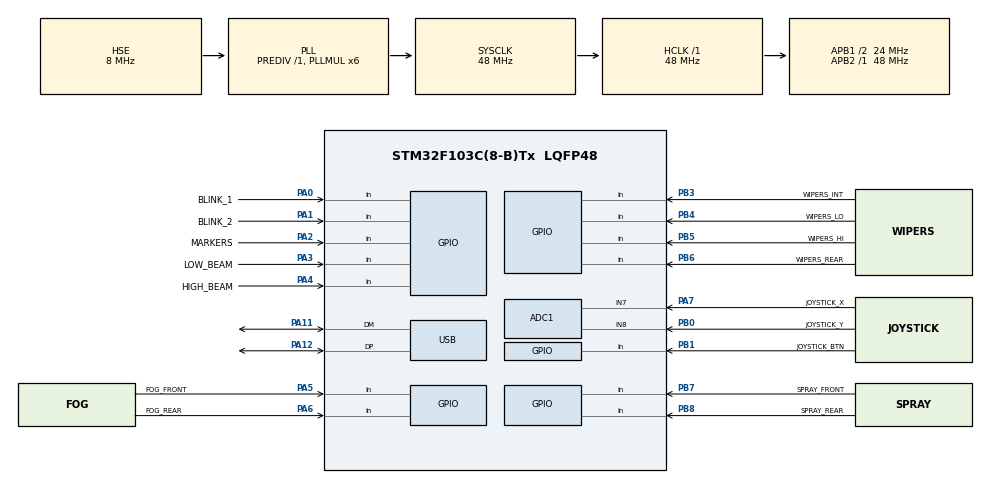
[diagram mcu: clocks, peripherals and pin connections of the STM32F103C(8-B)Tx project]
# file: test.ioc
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ADC1.Channel-1\#ChannelRegularConversion=ADC_CHANNEL_7
ADC1.Channel-2\#ChannelRegularConversion=ADC_CHANNEL_8
ADC1.NbrOfConversion=2
ADC1.NbrOfConversionFlag=1
ADC1.Rank-1\#ChannelRegularConversion=1
ADC1.Rank-2\#ChannelRegularConversion=2
ADC1.SamplingTime-1\#ChannelRegularConversion=ADC_SAMPLETIME_1CYCLE_5
ADC1.SamplingTime-2\#ChannelRegularConversion=ADC_SAMPLETIME_1CYCLE_5
ADC1.master=1
Dma.ADC1.0.Direction=DMA_PERIPH_TO_MEMORY
Dma.ADC1.0.Instance=DMA1_Channel1
Dma.ADC1.0.MemDataAlignment=DMA_MDATAALIGN_HALFWORD
Dma.ADC1.0.MemInc=DMA_MINC_ENABLE
Dma.ADC1.0.Mode=DMA_CIRCULAR
Dma.ADC1.0.PeriphDataAlignment=DMA_PDATAALIGN_HALFWORD
Dma.ADC1.0.PeriphInc=DMA_PINC_DISABLE
Dma.ADC1.0.Priority=DMA_PRIORITY_LOW
Dma.Request0=ADC1
Mcu.Family=STM32F1
Mcu.Name=STM32F103C(8-B)Tx
Mcu.Package=LQFP48
NVIC.DMA1_Channel1_IRQn=true\:0\:0\:false\:false\:true\:false\:true\:true
NVIC.PriorityGroup=NVIC_PRIORITYGROUP_4
NVIC.USB_LP_CAN1_RX0_IRQn=true\:0\:0\:false\:false\:true\:false\:true\:true
PA0-WKUP.GPIO_Label=BLINK_1
PA0-WKUP.GPIO_PuPd=GPIO_PULLUP
PA0-WKUP.Signal=GPIO_Input
PA1.GPIO_Label=BLINK_2
PA1.GPIO_PuPd=GPIO_PULLUP
PA1.Signal=GPIO_Input
PA11.Mode=Device
PA11.Signal=USB_DM
PA12.Mode=Device
PA12.Signal=USB_DP
PA13.Mode=Serial_Wire
PA13.Signal=SYS_JTMS-SWDIO
PA14.Mode=Serial_Wire
PA14.Signal=SYS_JTCK-SWCLK
PA2.GPIO_Label=MARKERS
PA2.GPIO_PuPd=GPIO_PULLUP
PA2.Signal=GPIO_Input
PA3.GPIO_Label=LOW_BEAM
PA3.GPIO_PuPd=GPIO_PULLUP
PA3.Signal=GPIO_Input
PA4.GPIO_Label=HIGH_BEAM
PA4.GPIO_PuPd=GPIO_PULLUP
PA4.Signal=GPIO_Input
PA5.GPIO_Label=FOG_FRONT
PA5.GPIO_PuPd=GPIO_PULLUP
PA5.Signal=GPIO_Input
PA6.GPIO_Label=FOG_REAR
PA6.GPIO_PuPd=GPIO_PULLUP
PA6.Signal=GPIO_Input
PA7.GPIO_Label=JOYSTICK_X
PA7.Signal=ADCx_IN7
PB0.GPIO_Label=JOYSTICK_Y
PB0.Signal=ADCx_IN8
PB1.GPIO_Label=JOYSTICK_BTN
PB1.GPIO_PuPd=GPIO_PULLUP
PB1.Signal=GPIO_Input
PB3.GPIO_Label=WIPERS_INT
PB3.GPIO_PuPd=GPIO_PULLUP
PB3.Signal=GPIO_Input
PB4.GPIO_Label=WIPERS_LO
PB4.GPIO_PuPd=GPIO_PULLUP
PB4.Signal=GPIO_Input
PB5.GPIO_Label=WIPERS_HI
PB5.GPIO_PuPd=GPIO_PULLUP
PB5.Signal=GPIO_Input
PB6.GPIO_Label=WIPERS_REAR
PB6.GPIO_PuPd=GPIO_PULLUP
PB6.Signal=GPIO_Input
PB7.GPIO_Label=SPRAY_FRONT
PB7.GPIO_PuPd=GPIO_PULLUP
PB7.Signal=GPIO_Input
PB8.GPIO_Label=SPRAY_REAR
PB8.GPIO_PuPd=GPIO_PULLUP
PB8.Signal=GPIO_Input
PD0-OSC_IN.Mode=HSE-External-Oscillator
PD0-OSC_IN.Signal=RCC_OSC_IN
PD1-OSC_OUT.Mode=HSE-External-Oscillator
PD1-OSC_OUT.Signal=RCC_OSC_OUT
ProjectManager.HeapSize=0x200
ProjectManager.StackSize=0x400
ProjectManager.TargetToolchain=STM32CubeIDE
RCC.AHBFreq_Value=48000000
RCC.APB1CLKDivider=RCC_HCLK_DIV2
RCC.APB1Freq_Value=24000000
RCC.APB1TimFreq_Value=48000000
RCC.APB2Freq_Value=48000000
RCC.APB2TimFreq_Value=48000000
RCC.HCLKFreq_Value=48000000
RCC.PLLMUL=RCC_PLL_MUL6
RCC.PLLSourceVirtual=RCC_PLLSOURCE_HSE
RCC.SYSCLKFreq_VALUE=48000000
RCC.SYSCLKSource=RCC_SYSCLKSOURCE_PLLCLK
RCC.USBFreq_Value=48000000
SH.ADCx_IN7.0=ADC1_IN7,IN7
SH.ADCx_IN8.0=ADC1_IN8,IN8
USB_DEVICE.CLASS_NAME_FS=CUSTOM_HID
USB_DEVICE.CUSTOM_HID_FS_BINTERVAL=0xa
USB_DEVICE.USBD_CUSTOM_HID_REPORT_DESC_SIZE=44
USB_DEVICE.VirtualMode=CustomHid
USB_DEVICE.VirtualModeFS=Custom_Hid_FS
VP_USB_DEVICE_VS_USB_DEVICE_CUSTOM_HID_FS.Mode=CUSTOM_HID_FS
board=custom

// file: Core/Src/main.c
/* USER CODE BEGIN Header */
/**
  ******************************************************************************
  * @file           : main.c
  * @brief          : Main program body
  ******************************************************************************
  * @attention
  *
  * Copyright (c) 2025 STMicroelectronics.
  * All rights reserved.
  *
  * This software is licensed under terms that can be found in the LICENSE file
  * in the root directory of this software component.
  * If no LICENSE file comes with this software, it is provided AS-IS.
  *
  ******************************************************************************
  */
/* USER CODE END Header */
#include "main.h"
#include "usb_device.h"

/* USER CODE BEGIN Includes */
#include <stdbool.h>
#include "usbd_customhid.h"
#include "stm32f1xx_ll_gpio.h"
/* USER CODE END Includes */

/* USER CODE BEGIN PD */

#define USB_DELAY 100

#define STATE_OFF   0
#define STATE_ON    1
#define STATE_IND   1
#define STATE_INT   1
#define STATE_LEFT  1
#define STATE_LOW   2
#define STATE_LO    2
#define STATE_RIGHT 2
#define STATE_HI    3

#define BTN_1       1 << 0
#define BTN_2       1 << 1
#define BTN_3       1 << 2
#define BTN_4       1 << 3
#define BTN_5       1 << 4
#define BTN_6       1 << 5
#define BTN_7       1 << 6
#define BTN_8       1 << 7
#define BTN_9       1 << 8
#define BTN_10      1 << 9
#define BTN_11      1 << 10
#define BTN_12      1 << 11
#define BTN_13      1 << 12
#define BTN_14      1 << 13
#define BTN_15      1 << 14
#define BTN_16      1 << 15

typedef struct ReportDescr {
	int8_t x;
	int8_t y;
	uint16_t btns;
} ReportDescr_t;

// Blinkers, Fog
typedef struct
{
	GPIO_TypeDef *gpio;
	uint16_t pin;
	uint8_t current_state;
	uint16_t button;
} HandlerGeneric_t;

typedef struct
{
	GPIO_TypeDef *gpio;
	uint16_t pin_left;
	uint16_t pin_right;
	uint8_t current_state;
	uint16_t button_left;
	uint16_t button_right;
	uint32_t enable_timestamp;
	bool lazy;
} HandlerBlinkers_t;

// Indication light, Low beam
typedef struct
{
	GPIO_TypeDef *gpio;
	uint16_t pin_ind;
	uint16_t pin_low;
	uint8_t current_state;
	uint16_t button_off;
	uint16_t button_markers;
	uint16_t button_low;
} HandlerLights_t;

// Front wipers
typedef struct
{
	GPIO_TypeDef *gpio;
	uint16_t pin_int;
	uint16_t pin_lo;
	uint16_t pin_hi;
	uint8_t current_state;
	uint16_t button_up;
	uint16_t button_down;
} HandlerWipers_t;

/* USER CODE END PD */

ADC_HandleTypeDef hadc1;
DMA_HandleTypeDef hdma_adc1;

/* USER CODE BEGIN PV */
extern USBD_HandleTypeDef hUsbDeviceFS;
uint16_t adc_buffer[2] = {0};

// Button is pressed while lever is in corresponding position
static HandlerGeneric_t handlers_type0[] = {
		{.gpio = GPIOB, .pin = GPIO_PIN_1, .current_state = STATE_OFF, .button = BTN_1},  // Joystick Btn
		{.gpio = GPIOA, .pin = GPIO_PIN_0, .current_state = STATE_OFF, .button = BTN_2},  // Left turn signal
		{.gpio = GPIOA, .pin = GPIO_PIN_1, .current_state = STATE_OFF, .button = BTN_3},  // Right turn signal
		{.gpio = GPIOA, .pin = GPIO_PIN_4, .current_state = STATE_OFF, .button = BTN_7},  // High beam
		{.gpio = GPIOA, .pin = GPIO_PIN_5, .current_state = STATE_OFF, .button = BTN_8},  // Front Fog lamps
		{.gpio = GPIOA, .pin = GPIO_PIN_6, .current_state = STATE_OFF, .button = BTN_11},  // Rear Fog lamps
		{.gpio = GPIOB, .pin = GPIO_PIN_7, .current_state = STATE_OFF, .button = BTN_12}, // Spray FRONT
		{.gpio = GPIOB, .pin = GPIO_PIN_8, .current_state = STATE_OFF, .button = BTN_13}  // Spray REAR
};

// Button is pressed when lever enters and exits corresponding position
static HandlerGeneric_t handlers_type1[] = {
		{.gpio = GPIOB, .pin = GPIO_PIN_6, .current_state = STATE_OFF, .button = BTN_14}, // Wipers REAR
};

// Custom behavior to handle lights logic
static HandlerLights_t handler_low_beam = {
		.gpio = GPIOA, .pin_ind = GPIO_PIN_2, .pin_low = GPIO_PIN_3, .current_state = STATE_OFF,
		.button_off = BTN_4, .button_markers = BTN_5, .button_low = BTN_6
};

// Custom behavior to handle wipers logic
static HandlerWipers_t handler_wipers = { .gpio = GPIOB, .pin_int = GPIO_PIN_3,
		.pin_lo = GPIO_PIN_4, .pin_hi = GPIO_PIN_5, .current_state = STATE_OFF,
		.button_up = BTN_9, .button_down = BTN_10
};

/* USER CODE END PV */

void SystemClock_Config(void);
static void MX_GPIO_Init(void);
static void MX_DMA_Init(void);
static void MX_ADC1_Init(void);
/* USER CODE BEGIN PFP */
static void updateUsbReportGeneric( ReportDescr_t *report);
static void updateUsbReportLights( ReportDescr_t *report);
static void updateUsbReportWipers(ReportDescr_t *report);
/* USER CODE END PFP */

/* USER CODE BEGIN 0 */

static void updateUsbReportGeneric( ReportDescr_t *report)
{
	static const int handlers_type0_size = sizeof(handlers_type0)/sizeof(handlers_type0[0]);
	static const int handlers_type1_size = sizeof(handlers_type1)/sizeof(handlers_type1[0]);
	static uint32_t last_called = 0;
	const uint32_t ms = HAL_GetTick();

	// Button is pressed while GPIO is active
	for(int i = 0; i < handlers_type0_size; ++i)
	{
		HandlerGeneric_t* handler = handlers_type0 + i;
		if(!HAL_GPIO_ReadPin(handler->gpio, handler->pin))
		{
			report->btns |= handler->button;
		}
		else
		{
			report->btns &= ~handler->button;
		}
	}

	if( ms - last_called > USB_DELAY )
	{
		last_called = ms;
		for(int i = 0; i < handlers_type1_size; ++i)
		{
			HandlerGeneric_t* handler = handlers_type1 + i;
			uint8_t new_state = !HAL_GPIO_ReadPin(handler->gpio, handler->pin) ? STATE_ON : STATE_OFF;
			if(new_state != handler->current_state)
			{
				handler->current_state = new_state;
				report->btns |= handler->button;
			}
			else
			{
				report->btns &= ~handler->button;
			}
		}
	}
}

static void updateUsbReportLights(ReportDescr_t *report)
{
	static uint32_t last_called = 0;
	const uint32_t ms = HAL_GetTick();

	if( ms - last_called > USB_DELAY )
	{
		last_called = ms;
		if(report->btns & handler_low_beam.button_off)
		{
			report->btns &= ~handler_low_beam.button_off;
		}
		else if(report->btns & handler_low_beam.button_markers)
		{
			report->btns &= ~handler_low_beam.button_markers;
		}
		else if(report->btns & handler_low_beam.button_low)
		{
			report->btns &= ~handler_low_beam.button_low;
		}
		else
		{
			uint32_t pins = LL_GPIO_ReadInputPort(handler_low_beam.gpio);
			uint8_t new_state = !(pins & handler_low_beam.pin_low) ? STATE_LOW :
								!(pins & handler_low_beam.pin_ind) ? STATE_IND : STATE_OFF;
			if(new_state != handler_low_beam.current_state)
			{
				handler_low_beam.current_state = new_state;
				report->btns |= (new_state == STATE_LOW) ? handler_low_beam.button_low :
								(new_state == STATE_IND) ? handler_low_beam.button_markers : handler_low_beam.button_off;
			}
		}
	}
}

static void updateUsbReportWipers(ReportDescr_t *report)
{
	static uint32_t last_called = 0;
	const uint32_t ms = HAL_GetTick();

	if( ms - last_called > USB_DELAY )
	{
		last_called = ms;
		if(report->btns & handler_wipers.button_up)
		{
			report->btns &= ~handler_wipers.button_up;
		}
		else if(report->btns & handler_wipers.button_down)
		{
			report->btns &= ~handler_wipers.button_down;
		}
		else
		{
			uint32_t pins = LL_GPIO_ReadInputPort(handler_wipers.gpio);
			uint8_t new_state = !(pins & handler_wipers.pin_hi) ? STATE_HI :
								!(pins & handler_wipers.pin_lo) ? STATE_LO :
								!(pins & handler_wipers.pin_int) ? STATE_INT : STATE_OFF;
			if(new_state > handler_wipers.current_state)
			{
				report->btns |= handler_wipers.button_up;
				++handler_wipers.current_state;
			}
			else if(new_state < handler_wipers.current_state)
			{
				report->btns |= handler_wipers.button_down;
				--handler_wipers.current_state;
			}
		}
	}
}

/* USER CODE END 0 */

int main(void)
{

  /* MCU Configuration--------------------------------------------------------*/

  /* Reset of all peripherals, Initializes the Flash interface and the Systick. */
  HAL_Init();

  /* Configure the system clock */
  SystemClock_Config();

  /* Initialize all configured peripherals */
  MX_GPIO_Init();
  MX_DMA_Init();
  MX_USB_DEVICE_Init();
  MX_ADC1_Init();

  /* Infinite loop */
  /* USER CODE BEGIN WHILE */

  ReportDescr_t report_val = { 0 };
  while (1)
  {
	  // Update buttons
	  updateUsbReportGeneric(&report_val);
	  updateUsbReportLights(&report_val);
	  updateUsbReportWipers(&report_val);

	  // Update stick
	  HAL_ADC_Start_DMA(&hadc1, (uint32_t*)adc_buffer, 2);
	  report_val.x = 127 - adc_buffer[0]/16;
	  report_val.y = adc_buffer[1]/16 - 128;

	  // Send report
	  USBD_CUSTOM_HID_SendReport(&hUsbDeviceFS, (uint8_t*)&report_val, sizeof(report_val));
	  HAL_Delay(10);
    /* USER CODE END WHILE */

  }
}

void SystemClock_Config(void)
{
  RCC_OscInitTypeDef RCC_OscInitStruct = {0};
  RCC_ClkInitTypeDef RCC_ClkInitStruct = {0};
  RCC_PeriphCLKInitTypeDef PeriphClkInit = {0};

  /** Initializes the RCC Oscillators according to the specified parameters
  * in the RCC_OscInitTypeDef structure.
  */
  RCC_OscInitStruct.OscillatorType = RCC_OSCILLATORTYPE_HSE;
  RCC_OscInitStruct.HSEState = RCC_HSE_ON;
  RCC_OscInitStruct.HSEPredivValue = RCC_HSE_PREDIV_DIV1;
  RCC_OscInitStruct.HSIState = RCC_HSI_ON;
  RCC_OscInitStruct.PLL.PLLState = RCC_PLL_ON;
  RCC_OscInitStruct.PLL.PLLSource = RCC_PLLSOURCE_HSE;
  RCC_OscInitStruct.PLL.PLLMUL = RCC_PLL_MUL6;
  if (HAL_RCC_OscConfig(&RCC_OscInitStruct) != HAL_OK)
  {
    Error_Handler();
  }

  /** Initializes the CPU, AHB and APB buses clocks
  */
  RCC_ClkInitStruct.ClockType = RCC_CLOCKTYPE_HCLK|RCC_CLOCKTYPE_SYSCLK
                              |RCC_CLOCKTYPE_PCLK1|RCC_CLOCKTYPE_PCLK2;
  RCC_ClkInitStruct.SYSCLKSource = RCC_SYSCLKSOURCE_PLLCLK;
  RCC_ClkInitStruct.AHBCLKDivider = RCC_SYSCLK_DIV1;
  RCC_ClkInitStruct.APB1CLKDivider = RCC_HCLK_DIV2;
  RCC_ClkInitStruct.APB2CLKDivider = RCC_HCLK_DIV1;

  if (HAL_RCC_ClockConfig(&RCC_ClkInitStruct, FLASH_LATENCY_1) != HAL_OK)
  {
    Error_Handler();
  }
  PeriphClkInit.PeriphClockSelection = RCC_PERIPHCLK_ADC|RCC_PERIPHCLK_USB;
  PeriphClkInit.AdcClockSelection = RCC_ADCPCLK2_DIV2;
  PeriphClkInit.UsbClockSelection = RCC_USBCLKSOURCE_PLL;
  if (HAL_RCCEx_PeriphCLKConfig(&PeriphClkInit) != HAL_OK)
  {
    Error_Handler();
  }
}

static void MX_ADC1_Init(void)
{

  ADC_ChannelConfTypeDef sConfig = {0};

  /** Common config
  */
  hadc1.Instance = ADC1;
  hadc1.Init.ScanConvMode = ADC_SCAN_ENABLE;
  hadc1.Init.ContinuousConvMode = DISABLE;
  hadc1.Init.DiscontinuousConvMode = DISABLE;
  hadc1.Init.ExternalTrigConv = ADC_SOFTWARE_START;
  hadc1.Init.DataAlign = ADC_DATAALIGN_RIGHT;
  hadc1.Init.NbrOfConversion = 2;
  if (HAL_ADC_Init(&hadc1) != HAL_OK)
  {
    Error_Handler();
  }

  /** Configure Regular Channel
  */
  sConfig.Channel = ADC_CHANNEL_7;
  sConfig.Rank = ADC_REGULAR_RANK_1;
  sConfig.SamplingTime = ADC_SAMPLETIME_1CYCLE_5;
  if (HAL_ADC_ConfigChannel(&hadc1, &sConfig) != HAL_OK)
  {
    Error_Handler();
  }

  /** Configure Regular Channel
  */
  sConfig.Channel = ADC_CHANNEL_8;
  sConfig.Rank = ADC_REGULAR_RANK_2;
  if (HAL_ADC_ConfigChannel(&hadc1, &sConfig) != HAL_OK)
  {
    Error_Handler();
  }

}

static void MX_DMA_Init(void)
{

  /* DMA controller clock enable */
  __HAL_RCC_DMA1_CLK_ENABLE();

  /* DMA interrupt init */
  /* DMA1_Channel1_IRQn interrupt configuration */
  HAL_NVIC_SetPriority(DMA1_Channel1_IRQn, 0, 0);
  HAL_NVIC_EnableIRQ(DMA1_Channel1_IRQn);

}

static void MX_GPIO_Init(void)
{
  GPIO_InitTypeDef GPIO_InitStruct = {0};

  /* GPIO Ports Clock Enable */
  __HAL_RCC_GPIOD_CLK_ENABLE();
  __HAL_RCC_GPIOA_CLK_ENABLE();
  __HAL_RCC_GPIOB_CLK_ENABLE();

  /*Configure GPIO pins : BLINK_1_Pin BLINK_2_Pin MARKERS_Pin LOW_BEAM_Pin
                           HIGH_BEAM_Pin FOG_FRONT_Pin FOG_REAR_Pin */
  GPIO_InitStruct.Pin = BLINK_1_Pin|BLINK_2_Pin|MARKERS_Pin|LOW_BEAM_Pin
                          |HIGH_BEAM_Pin|FOG_FRONT_Pin|FOG_REAR_Pin;
  GPIO_InitStruct.Mode = GPIO_MODE_INPUT;
  GPIO_InitStruct.Pull = GPIO_PULLUP;
  HAL_GPIO_Init(GPIOA, &GPIO_InitStruct);

  /*Configure GPIO pins : JOYSTICK_BTN_Pin WIPERS_INT_Pin WIPERS_LO_Pin WIPERS_HI_Pin
                           WIPERS_REAR_Pin SPRAY_FRONT_Pin SPRAY_REAR_Pin */
  GPIO_InitStruct.Pin = JOYSTICK_BTN_Pin|WIPERS_INT_Pin|WIPERS_LO_Pin|WIPERS_HI_Pin
                          |WIPERS_REAR_Pin|SPRAY_FRONT_Pin|SPRAY_REAR_Pin;
  GPIO_InitStruct.Mode = GPIO_MODE_INPUT;
  GPIO_InitStruct.Pull = GPIO_PULLUP;
  HAL_GPIO_Init(GPIOB, &GPIO_InitStruct);

}

void Error_Handler(void)
{
  __disable_irq();
  while (1)
  {
  }
}
